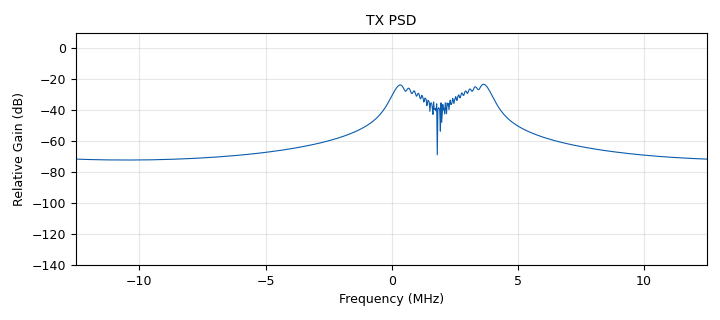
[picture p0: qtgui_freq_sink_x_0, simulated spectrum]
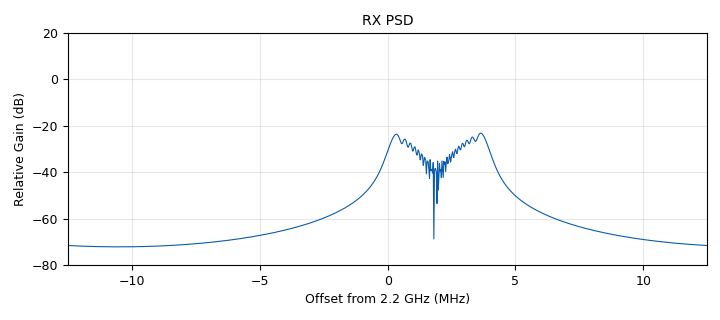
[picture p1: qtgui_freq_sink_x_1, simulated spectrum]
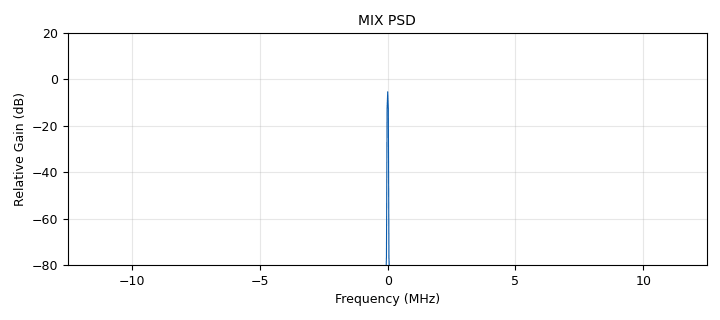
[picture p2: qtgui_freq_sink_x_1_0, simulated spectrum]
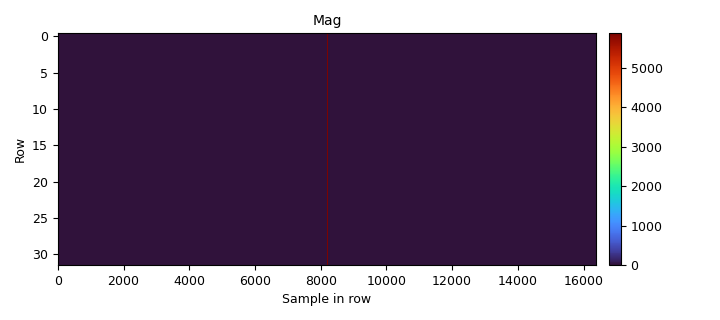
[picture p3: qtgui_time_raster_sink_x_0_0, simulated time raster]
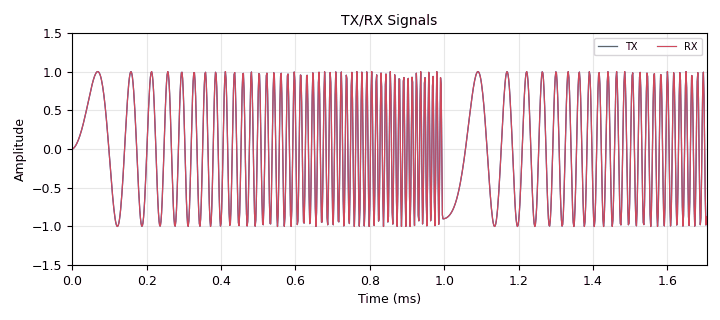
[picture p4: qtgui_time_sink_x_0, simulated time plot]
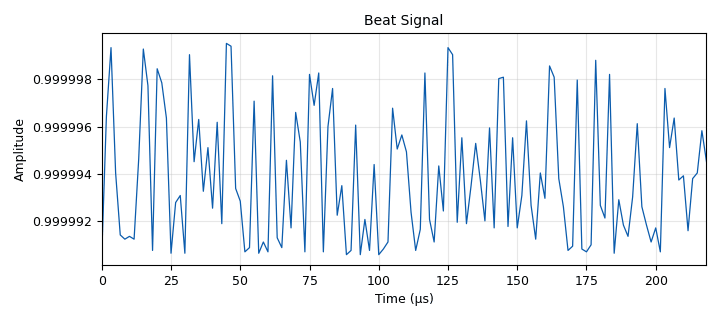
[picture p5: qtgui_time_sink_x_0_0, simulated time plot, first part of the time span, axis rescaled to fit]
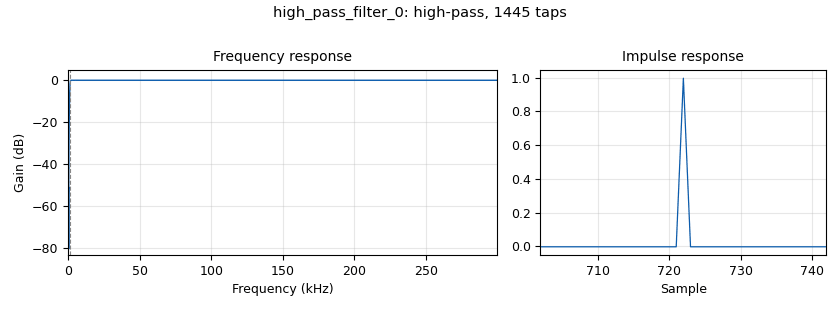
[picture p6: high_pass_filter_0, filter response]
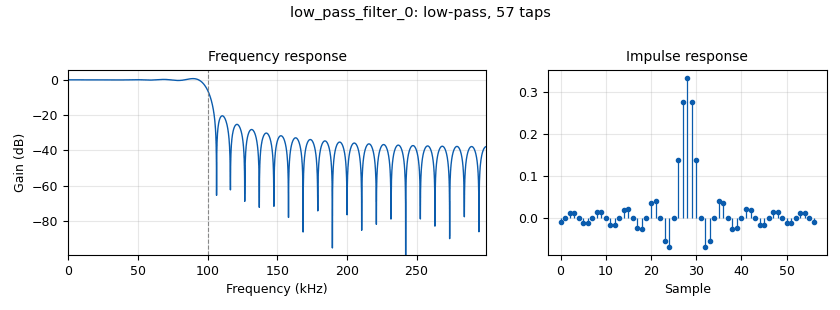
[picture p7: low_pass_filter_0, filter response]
options:
  parameters:
    generate_options: qt_gui
    id: top_block
    output_language: python
  states: {}

blocks:
- name: ch_bw
  id: variable
  parameters:
    comment: 0.2MHz < RF_BW < 56MHz
    value: 25e6
  states: {}
- name: ch_freq
  id: variable
  parameters:
    value: 2.2e9
  states: {}
- name: delay
  id: variable_qtgui_range
  parameters:
    label: '""'
    min_len: '2000'
    rangeType: int
    start: '0'
    step: '100'
    stop: '2000'
    value: '0'
  states: {}
- name: fft_size
  id: variable
  parameters:
    value: 1024*16
  states: {}
- name: samp_rate
  id: variable
  parameters:
    comment: 0.521MHz < x < 61.44MHz
    value: 0.6e6
  states: {}
- name: analog_agc_xx_0
  id: analog_agc_xx
  parameters:
    gain: '1.0'
    max_gain: '65536'
    rate: '1e-4'
    reference: '1.0'
    type: complex
  states: {}
- name: analog_agc_xx_0_0
  id: analog_agc_xx
  parameters:
    gain: '1.0'
    max_gain: '65536'
    rate: '1e-4'
    reference: '1.0'
    type: complex
  states: {}
- name: analog_sig_source_x_0_0
  id: analog_sig_source_x
  parameters:
    amp: '1'
    freq: '1000'
    offset: '0'
    phase: '0'
    samp_rate: samp_rate
    type: float
    waveform: analog.GR_SAW_WAVE
  states: {}
- name: blocks_complex_to_mag_0_0
  id: blocks_complex_to_mag
  parameters:
    vlen: fft_size
  states: {}
- name: blocks_complex_to_mag_squared_0
  id: blocks_complex_to_mag_squared
  parameters: {}
  states: {}
- name: blocks_complex_to_real_0
  id: blocks_complex_to_real
  parameters: {}
  states: {}
- name: blocks_complex_to_real_0_0
  id: blocks_complex_to_real
  parameters: {}
  states: {}
- name: blocks_complex_to_real_0_0_0
  id: blocks_complex_to_real
  parameters: {}
  states: {}
- name: blocks_delay_0
  id: blocks_delay
  parameters:
    delay: delay
    type: complex
  states: {}
- name: blocks_file_sink_0_0
  id: blocks_file_sink
  parameters:
    file: /home/sankalpa/Documents/software-radar/fmcw-radar/data/data.bin
    type: float
  states: {state: disabled}
- name: blocks_moving_average_xx_0
  id: blocks_moving_average_xx
  parameters:
    length: '50'
    max_iter: '4000'
    scale: '1'
    type: float
  states: {}
- name: blocks_multiply_conjugate_cc_0
  id: blocks_multiply_conjugate_cc
  parameters:
    comment: |-
      Multiplies stream 0 by the
      complex conjugate of stream 1
  states: {}
- name: blocks_nlog10_ff_0
  id: blocks_nlog10_ff
  parameters:
    k: '0'
    n: '10'
  states: {}
- name: blocks_stream_to_vector_0_1
  id: blocks_stream_to_vector
  parameters:
    num_items: fft_size
    type: complex
  states: {}
- name: blocks_vco_c_0_0
  id: blocks_vco_c
  parameters:
    amplitude: '1'
    comment: 2*pi*f/A = S
    samp_rate: samp_rate
    sensitivity: samp_rate
  states: {}
- name: blocks_vector_to_stream_0_0
  id: blocks_vector_to_stream
  parameters:
    num_items: fft_size
    type: float
  states: {}
- name: blocks_vector_to_stream_0_0_0
  id: blocks_vector_to_stream
  parameters:
    num_items: fft_size
    type: complex
  states: {}
- name: fft_vxx_0_0_0_1
  id: fft_vxx
  parameters:
    fft_size: fft_size
    forward: 'True'
    nthreads: '8'
    shift: 'True'
    type: complex
    window: window.blackmanharris(fft_size)
  states: {}
- name: high_pass_filter_0
  id: high_pass_filter
  parameters:
    cutoff_freq: 1e3
    decim: '1'
    gain: '1'
    samp_rate: samp_rate
    type: fir_filter_ccf
    width: 1e3
    win: window.WIN_HAMMING
  states: {}
- name: low_pass_filter_0
  id: low_pass_filter
  parameters:
    cutoff_freq: '100000'
    decim: '1'
    gain: '1'
    samp_rate: samp_rate
    type: fir_filter_fff
    width: '10000'
    win: window.WIN_RECTANGULAR
  states: {}
- name: osmosdr_sink_0
  id: osmosdr_sink
  parameters:
    bb_gain0: '0'
    bw0: ch_bw
    freq0: ch_freq
    gain0: '70'
    if_gain0: '0'
    sample_rate: samp_rate
    sync: sync
    type: fc32
  states: {state: disabled}
- name: osmosdr_source_0
  id: osmosdr_source
  parameters:
    bb_gain0: '0'
    bw0: ch_bw
    freq0: ch_freq
    gain0: '70'
    gain_mode0: 'True'
    if_gain0: '0'
    sample_rate: samp_rate
    sync: sync
    type: fc32
  states: {state: disabled}
- name: qtgui_freq_sink_x_0
  id: qtgui_freq_sink_x
  parameters:
    bw: ch_bw
    fc: '0'
    fftsize: '1024'
    name: TX PSD
    showports: 'True'
    type: complex
    units: dBm
    update_time: '0.00001'
  states: {}
- name: qtgui_freq_sink_x_1
  id: qtgui_freq_sink_x
  parameters:
    bw: ch_bw
    fc: ch_freq
    fftsize: '1024'
    name: RX PSD
    showports: 'True'
    type: complex
    units: dBm
    update_time: '0.00001'
    ymax: '20'
    ymin: '-80'
  states: {}
- name: qtgui_freq_sink_x_1_0
  id: qtgui_freq_sink_x
  parameters:
    bw: ch_bw
    fc: '0'
    fftsize: '1024'
    name: MIX PSD
    showports: 'True'
    type: float
    units: dBm
    update_time: '0.00001'
    wintype: window.WIN_HAMMING
    ymax: '20'
    ymin: '-80'
  states: {}
- name: qtgui_time_raster_sink_x_0_0
  id: qtgui_time_raster_sink_x
  parameters:
    name: '"Mag"'
    ncols: fft_size
    nrows: '64'
    samp_rate: samp_rate
    type: float
  states: {}
- name: qtgui_time_sink_x_0
  id: qtgui_time_sink_x
  parameters:
    label1: TX
    label2: RX
    name: TX/RX Signals
    nconnections: '2'
    size: '1024'
    srate: samp_rate
    tr_mode: qtgui.TRIG_MODE_AUTO
    type: float
    ymax: '1.5'
    ymin: '-1.5'
  states: {}
- name: qtgui_time_sink_x_0_0
  id: qtgui_time_sink_x
  parameters:
    label1: ''
    name: Beat Signal
    size: '1024'
    srate: samp_rate
    tr_mode: qtgui.TRIG_MODE_AUTO
    type: float
    ymax: '1.5'
    ymin: '-1.5'
  states: {}
- name: qtgui_time_sink_x_1
  id: qtgui_time_sink_x
  parameters:
    comment: |-
      Since there is no reference power level
      values are not correct.
    name: RX Power
    size: '1024'
    srate: samp_rate
    type: float
    ylabel: dBm
    ymax: '20'
    ymin: '0'
  states: {}
- name: qtgui_time_sink_x_1_0
  id: qtgui_time_sink_x
  parameters:
    size: '1024'
    srate: samp_rate/5
    type: float
    ylabel: Power (resampled)
    ymax: '3'
  states: {state: disabled}
- name: qtgui_time_sink_x_1_1
  id: qtgui_time_sink_x
  parameters:
    comment: |-
      Since there is no reference power level
      values are not correct.
    name: RX Power
    size: '1024'
    srate: samp_rate
    type: float
    ylabel: Watt
    ymax: '2.5'
    ymin: '-0.5'
  states: {}
- name: qtgui_time_sink_x_2
  id: qtgui_time_sink_x
  parameters:
    name: FFT
    size: fft_size
    srate: samp_rate
    type: complex
    update_time: '0.0001'
    ymax: '3000'
    ymin: '-3000'
  states: {}
- name: qtgui_waterfall_sink_x_0_0
  id: qtgui_waterfall_sink_x
  parameters:
    bw: samp_rate
    fc: '0'
    fftsize: '2048'
    name: Waterfall Plot
    showports: 'True'
    type: complex
  states: {}
- name: rational_resampler_xxx_0
  id: rational_resampler_xxx
  parameters:
    decim: '10'
    interp: '1'
    type: fff
  states: {state: disabled}

connections:
- [analog_agc_xx_0, '0', blocks_complex_to_real_0, '0']
- [analog_agc_xx_0, '0', blocks_multiply_conjugate_cc_0, '0']
- [analog_agc_xx_0_0, '0', blocks_complex_to_real_0_0, '0']
- [analog_agc_xx_0_0, '0', blocks_multiply_conjugate_cc_0, '1']
- [analog_agc_xx_0_0, '0', qtgui_freq_sink_x_1, '0']
- [analog_sig_source_x_0_0, '0', blocks_vco_c_0_0, '0']
- [blocks_complex_to_mag_0_0, '0', blocks_vector_to_stream_0_0, '0']
- [blocks_complex_to_mag_squared_0, '0', blocks_moving_average_xx_0, '0']
- [blocks_complex_to_mag_squared_0, '0', qtgui_time_sink_x_1_1, '0']
- [blocks_complex_to_mag_squared_0, '0', rational_resampler_xxx_0, '0']
- [blocks_complex_to_real_0, '0', qtgui_time_sink_x_0, '0']
- [blocks_complex_to_real_0_0, '0', qtgui_time_sink_x_0, '1']
- [blocks_complex_to_real_0_0_0, '0', low_pass_filter_0, '0']
- [blocks_complex_to_real_0_0_0, '0', qtgui_time_sink_x_0_0, '0']
- [blocks_delay_0, '0', analog_agc_xx_0_0, '0']
- [blocks_moving_average_xx_0, '0', blocks_nlog10_ff_0, '0']
- [blocks_multiply_conjugate_cc_0, '0', blocks_complex_to_mag_squared_0, '0']
- [blocks_multiply_conjugate_cc_0, '0', blocks_complex_to_real_0_0_0, '0']
- [blocks_multiply_conjugate_cc_0, '0', blocks_stream_to_vector_0_1, '0']
- [blocks_multiply_conjugate_cc_0, '0', high_pass_filter_0, '0']
- [blocks_nlog10_ff_0, '0', qtgui_time_sink_x_1, '0']
- [blocks_stream_to_vector_0_1, '0', fft_vxx_0_0_0_1, '0']
- [blocks_vco_c_0_0, '0', analog_agc_xx_0, '0']
- [blocks_vco_c_0_0, '0', blocks_delay_0, '0']
- [blocks_vco_c_0_0, '0', osmosdr_sink_0, '0']
- [blocks_vco_c_0_0, '0', qtgui_freq_sink_x_0, '0']
- [blocks_vector_to_stream_0_0, '0', qtgui_time_raster_sink_x_0_0, '0']
- [blocks_vector_to_stream_0_0_0, '0', qtgui_time_sink_x_2, '0']
- [fft_vxx_0_0_0_1, '0', blocks_complex_to_mag_0_0, '0']
- [fft_vxx_0_0_0_1, '0', blocks_vector_to_stream_0_0_0, '0']
- [high_pass_filter_0, '0', qtgui_waterfall_sink_x_0_0, '0']
- [low_pass_filter_0, '0', qtgui_freq_sink_x_1_0, '0']
- [osmosdr_source_0, '0', analog_agc_xx_0_0, '0']
- [rational_resampler_xxx_0, '0', blocks_file_sink_0_0, '0']
- [rational_resampler_xxx_0, '0', qtgui_time_sink_x_1_0, '0']

metadata:
  file_format: 1
  grc_version: 3.9.8.0
